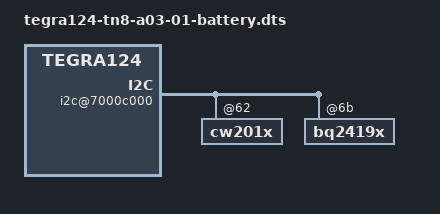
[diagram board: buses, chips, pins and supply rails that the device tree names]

#include "tegra124-tn8-a03-01.dts"
#include "tegra124-platforms/tegra124-tn8-sysedp-e1780-1100-a02.dtsi"

/ {
	i2c@7000c000 {
		cw201x@62 {
			status = "okay";
		};

		bq2419x: bq2419x@6b {
			charger {
				status = "okay";
			};
		};
	};
};

